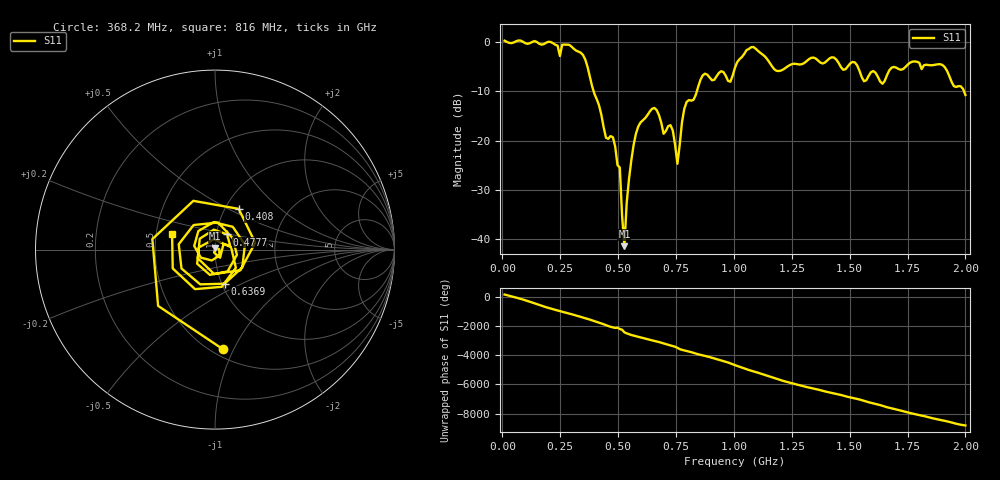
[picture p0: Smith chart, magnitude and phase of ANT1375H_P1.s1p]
!Created with skrf (http://scikit-rf.org).
# Hz S RI R 50.0
!freq ReS11 ImS11
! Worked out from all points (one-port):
!   201 points, 10 MHz to 2 GHz, reference 50 ohm
!   lowest |S11| = -41.4 dB at 527.4 MHz (marker M1), VSWR 1.02, Z = 50.2 + j0.832 ohm
!   |S11| at or under -10 dB: 394.5 MHz to 840.1 MHz (445.6 MHz wide, 72.2 % of centre); 1.993913 GHz to end of sweep
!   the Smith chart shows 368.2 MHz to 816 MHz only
!   S11 on the Smith chart (normalised r, x): 368.2 MHz: 0.56, -0.91; 408 MHz: 1.16, +0.56; 477.6 MHz: 1.13, +0.19; 636.9 MHz: 1.03, -0.41; 816 MHz: 0.61, +0.11
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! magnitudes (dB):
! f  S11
! 10 MHz  0.3
! 258.8 MHz  -0.6
! 368.2 MHz  -5.1
! 408 MHz  -11.6
! 447.8 MHz  -19.4
! 477.6 MHz  -19.3
! 507.5 MHz  -25.4
! 527.4 MHz  -41.4
! 537.4 MHz  -32.6
! 567.2 MHz  -20.9
! 636.9 MHz  -14.1
! 666.7 MHz  -13.8
! 696.5 MHz  -18.6
! 726.4 MHz  -16.9
! 756.2 MHz  -24.7
! 786.1 MHz  -13.5
! 816 MHz  -11.9
! 865.7 MHz  -6.8
! 985.1 MHz  -8.1
! 1.005 GHz  -5.2
! 1.085 GHz  -1.0
! 1.184 GHz  -5.8
! 1.254 GHz  -4.5
! 1.502 GHz  -4.4
! 1.642 GHz  -8.5
! 1.751 GHz  -4.6
! 1.901 GHz  -4.7
! 2 GHz  -10.7
